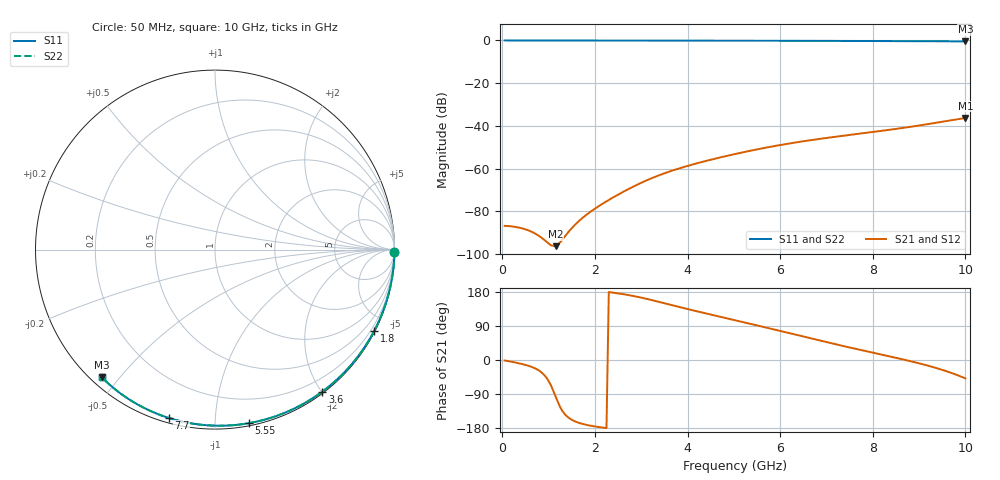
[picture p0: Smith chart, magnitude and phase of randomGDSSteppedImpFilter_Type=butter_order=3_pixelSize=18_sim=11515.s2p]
! freq	dB(S11)	phase(S11)	dB(S12)	phase(S12)
!  dB(S21)	phase(S21)	dB(S22)	phase(S22)
!S-par simulation data
#  GHz  S  DB  R 50
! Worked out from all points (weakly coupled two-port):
!   200 points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, 50 MHz to 10 GHz, reference 50 ohm
!   highest |S21| = -36.29 dB at 10 GHz (marker M1); lowest = -96.2 dB at 1.15 GHz (marker M2)
!   lowest |S11| = -0.4 dB at 10 GHz (marker M3), VSWR 39.54, Z = 1.52 - j22.4 ohm
!   |S11| at or under -10 dB: nowhere
!   |S22| runs from -0.4 to 0.0 dB; largest |S21 - S12| = 0
!   S11 on the Smith chart (normalised r, x): 50 MHz: open; 1.8 GHz: 0.04, -4.16; 3.6 GHz: 0.02, -2.01; 5.55 GHz: 0.02, -1.21; 7.7 GHz: 0.02, -0.76; 10 GHz: 0.03, -0.45
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0.05  -0.00 -0.8  -86.74 -1.2  -86.74 -1.2  -0.00 -0.8
0.6  -0.01 -9.1  -89.17 -16.7  -89.17 -16.7  -0.01 -9.1
1.15  -0.02 -17.4  -96.23 -96.3  -96.23 -96.3  -0.02 -17.4
1.75  -0.03 -26.3  -82.70 -169.2  -82.70 -169.2  -0.03 -26.3
1.8  -0.03 -27.0  -81.83 -170.7  -81.83 -170.7  -0.03 -27.0
1.9  -0.04 -28.5  -80.21 -173.3  -80.21 -173.3  -0.04 -28.5
1.95  -0.04 -29.2  -79.44 -174.3  -79.44 -174.3  -0.04 -29.2
2.25  -0.04 -33.6  -75.25 -179.8  -75.25 -179.8  -0.04 -33.6
2.65  -0.05 -39.4  -70.36 172.9  -70.36 172.9  -0.05 -39.4
3.05  -0.06 -45.1  -66.09 163.3  -66.09 163.3  -0.06 -45.1
3.4  -0.07 -50.1  -62.94 152.9  -62.94 152.9  -0.07 -50.0
3.6  -0.07 -52.9  -61.39 146.7  -61.39 146.7  -0.07 -52.8
3.9  -0.08 -57.0  -59.32 137.5  -59.32 137.5  -0.08 -57.0
4.2  -0.09 -61.1  -57.49 128.6  -57.49 128.6  -0.09 -61.1
5.05  -0.11 -72.4  -53.01 104.3  -53.01 104.3  -0.11 -72.4
5.55  -0.13 -78.9  -50.75 89.9  -50.75 89.9  -0.13 -78.9
6.1  -0.15 -85.9  -48.55 73.6  -48.55 73.6  -0.15 -85.9
6.7  -0.18 -93.4  -46.51 55.8  -46.51 55.8  -0.18 -93.3
7.7  -0.24 -105.4  -43.66 27.5  -43.66 27.5  -0.24 -105.4
8.35  -0.29 -113.0  -41.84 9.9  -41.84 9.9  -0.29 -113.0
9.2  -0.36 -122.8  -39.10 -15.2  -39.10 -15.2  -0.36 -122.7
10  -0.44 -131.6  -36.29 -48.5  -36.29 -48.5  -0.44 -131.6
